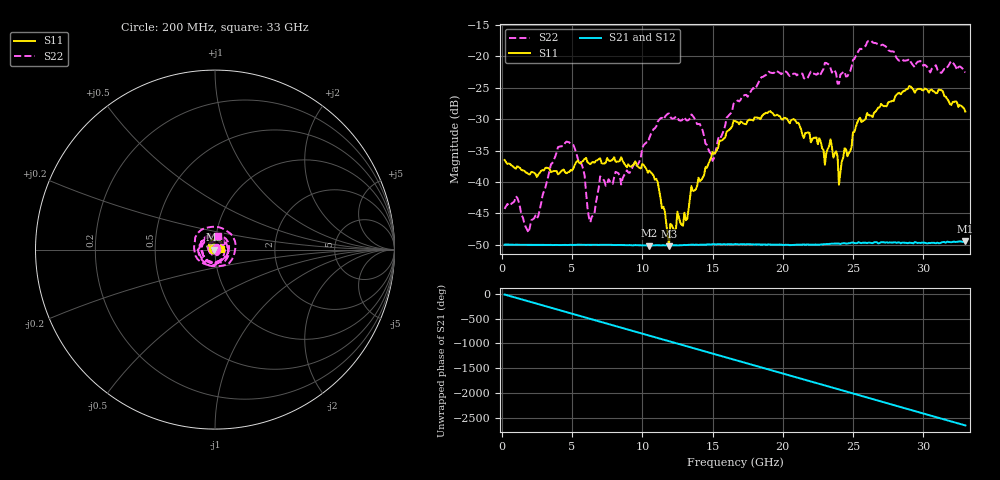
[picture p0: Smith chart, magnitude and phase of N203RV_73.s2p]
# GHZ S RI R 50
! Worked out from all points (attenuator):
!   329 points, 200 MHz to 33 GHz, reference 50 ohm
!   highest |S21| = -49.38 dB at 33 GHz (marker M1); lowest = -50.1 dB at 10.5 GHz (marker M2)
!   lowest |S11| = -50.2 dB at 11.9 GHz (marker M3), VSWR 1.01, Z = 49.7 + j0.0487 ohm
!   |S11| at or under -10 dB: start of sweep to end of sweep
!   |S22| runs from -48.1 to -17.5 dB; largest |S21 - S12| = 7.2e-05
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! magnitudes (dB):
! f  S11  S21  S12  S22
! 200 MHz  -36.5  -50.0  -50.0  -44.3
! 1 GHz  -37.9  -50.0  -50.0  -42.3
! 1.9 GHz  -38.8  -50.0  -50.0  -48.1
! 4 GHz  -38.8  -50.1  -50.0  -34.5
! 5.7 GHz  -36.8  -50.0  -50.0  -37.3
! 6.3 GHz  -37.2  -50.0  -50.0  -46.4
! 7 GHz  -36.2  -50.0  -50.0  -39.1
! 8.5 GHz  -36.1  -50.0  -50.0  -40.4
! 10.5 GHz  -38.2  -50.1  -50.1  -33.0
! 11.2 GHz  -41.3  -50.1  -50.1  -30.1
! 11.9 GHz  -50.2  -50.1  -50.1  -29.1
! 13.2 GHz  -45.9  -50.0  -50.0  -30.2
! 13.5 GHz  -40.7  -50.0  -50.0  -29.2
! 15 GHz  -35.2  -49.9  -49.9  -36.6
! 16.6 GHz  -30.3  -49.9  -49.9  -27.2
! 22.1 GHz  -33.2  -50.0  -50.0  -22.7
! 23 GHz  -37.3  -49.9  -49.9  -21.0
! 23.4 GHz  -33.2  -49.9  -49.8  -21.9
! 24 GHz  -40.4  -49.8  -49.8  -24.4
! 25.4 GHz  -30.1  -49.6  -49.6  -19.1
! 27.6 GHz  -27.2  -49.6  -49.6  -19.1
! 33 GHz  -28.8  -49.4  -49.4  -22.5
